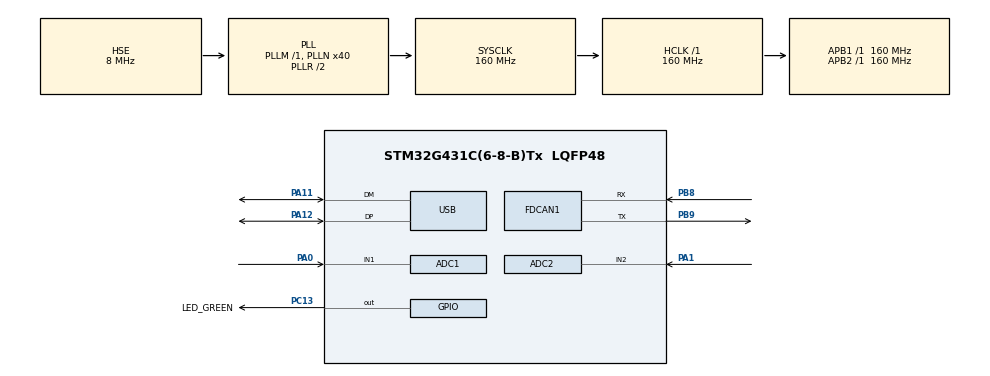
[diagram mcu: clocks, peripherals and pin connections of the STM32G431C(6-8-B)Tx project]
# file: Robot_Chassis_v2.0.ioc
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ADC1.Channel-0\#ChannelRegularConversion=ADC_CHANNEL_1
ADC1.NbrOfConversionFlag=1
ADC1.OffsetNumber-0\#ChannelRegularConversion=ADC_OFFSET_NONE
ADC1.Rank-0\#ChannelRegularConversion=1
ADC1.SamplingTime-0\#ChannelRegularConversion=ADC_SAMPLETIME_2CYCLES_5
ADC1.master=1
ADC2.Channel-0\#ChannelRegularConversion=ADC_CHANNEL_2
ADC2.NbrOfConversionFlag=1
ADC2.OffsetNumber-0\#ChannelRegularConversion=ADC_OFFSET_NONE
ADC2.Rank-0\#ChannelRegularConversion=1
ADC2.SamplingTime-0\#ChannelRegularConversion=ADC_SAMPLETIME_2CYCLES_5
FDCAN1.AutoRetransmission=ENABLE
FDCAN1.CalculateBaudRateNominal=1000000
FDCAN1.CalculateTimeBitNominal=1000
FDCAN1.CalculateTimeQuantumNominal=50.0
FDCAN1.DataPrescaler=4
FDCAN1.DataSyncJumpWidth=2
FDCAN1.DataTimeSeg1=5
FDCAN1.DataTimeSeg2=2
FDCAN1.FrameFormat=FDCAN_FRAME_FD_BRS
FDCAN1.NominalPrescaler=8
FDCAN1.NominalSyncJumpWidth=4
FDCAN1.NominalTimeSeg1=15
FDCAN1.NominalTimeSeg2=4
FDCAN1.StdFiltersNbr=1
IWDG.Prescaler=IWDG_PRESCALER_32
Mcu.Family=STM32G4
Mcu.Name=STM32G431C(6-8-B)Tx
Mcu.Package=LQFP48
NVIC.FDCAN1_IT0_IRQn=true\:5\:0\:true\:false\:true\:true\:true\:true
NVIC.FDCAN1_IT1_IRQn=true\:5\:0\:true\:false\:true\:true\:true\:true
NVIC.PriorityGroup=NVIC_PRIORITYGROUP_4
NVIC.TIM7_IRQn=true\:1\:0\:true\:false\:true\:true\:true\:true
NVIC.USB_LP_IRQn=true\:0\:0\:false\:false\:true\:true\:true\:true
PA0.Mode=IN1-Single-Ended
PA0.Signal=ADC1_IN1
PA1.Mode=IN2-Single-Ended
PA1.Signal=ADC2_IN2
PA11.Mode=Device
PA11.Signal=USB_DM
PA12.Mode=Device
PA12.Signal=USB_DP
PA13.Mode=Serial_Wire
PA13.Signal=SYS_JTMS-SWDIO
PA14.Mode=Serial_Wire
PA14.Signal=SYS_JTCK-SWCLK
PB8-BOOT0.Mode=FDCAN_Activate
PB8-BOOT0.Signal=FDCAN1_RX
PB9.Mode=FDCAN_Activate
PB9.Signal=FDCAN1_TX
PC13.GPIO_Label=LED_GREEN
PC13.Signal=GPIO_Output
PF0-OSC_IN.Mode=HSE-External-Oscillator
PF0-OSC_IN.Signal=RCC_OSC_IN
PF1-OSC_OUT.Mode=HSE-External-Oscillator
PF1-OSC_OUT.Signal=RCC_OSC_OUT
ProjectManager.HeapSize=0x200
ProjectManager.StackSize=0x400
ProjectManager.TargetToolchain=STM32CubeIDE
RCC.ADC12Freq_Value=160000000
RCC.AHBFreq_Value=160000000
RCC.APB1Freq_Value=160000000
RCC.APB1TimFreq_Value=160000000
RCC.APB2Freq_Value=160000000
RCC.APB2TimFreq_Value=160000000
RCC.CK48CLockSelection=RCC_USBCLKSOURCE_HSI48
RCC.CortexFreq_Value=160000000
RCC.EXTERNAL_CLOCK_VALUE=12288000
RCC.HCLKFreq_Value=160000000
RCC.HSE_VALUE=8000000
RCC.HSI48_VALUE=48000000
RCC.HSI_VALUE=16000000
RCC.LSE_VALUE=32768
RCC.PLLN=40
RCC.PLLSourceVirtual=RCC_PLLSOURCE_HSE
RCC.SYSCLKFreq_VALUE=160000000
RCC.SYSCLKSource=RCC_SYSCLKSOURCE_PLLCLK
RCC.USBFreq_Value=48000000
RCC.VCOOutputFreq_Value=320000000
TIM7.PeriodNoDither=1000
TIM7.Prescaler=160-1
USB_DEVICE.CLASS_NAME_FS=CDC
USB_DEVICE.VirtualMode=Cdc
USB_DEVICE.VirtualModeFS=Cdc_FS
VP_IWDG_VS_IWDG.Mode=IWDG_Activate
VP_SYS_VS_DBSignals.Mode=DisableDeadBatterySignals
VP_TIM7_VS_ClockSourceINT.Mode=Enable_Timer
VP_USB_DEVICE_VS_USB_DEVICE_CDC_FS.Mode=CDC_FS
board=custom

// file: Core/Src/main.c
/* USER CODE BEGIN Header */
/**
  ******************************************************************************
  * @file           : main.c
  * @brief          : Main program body
  ******************************************************************************
  * @attention
  *
  * Copyright (c) 2025 STMicroelectronics.
  * All rights reserved.
  *
  * This software is licensed under terms that can be found in the LICENSE file
  * in the root directory of this software component.
  * If no LICENSE file comes with this software, it is provided AS-IS.
  *
  ******************************************************************************
  */
/* USER CODE END Header */
#include "main.h"
#include "adc.h"
#include "fdcan.h"
#include "iwdg.h"
#include "tim.h"
#include "usb_device.h"
#include "gpio.h"

void SystemClock_Config(void);

/* USER CODE BEGIN 0 */
static uint8_t TransData[256];
/* USER CODE END 0 */

int main(void)
{

  /* MCU Configuration--------------------------------------------------------*/

  /* Reset of all peripherals, Initializes the Flash interface and the Systick. */
  HAL_Init();

  /* USER CODE BEGIN Init */
  UsbReset();
  /* USER CODE END Init */

  /* Configure the system clock */
  SystemClock_Config();

  /* Initialize all configured peripherals */
  MX_GPIO_Init();
  MX_FDCAN1_Init();
  MX_IWDG_Init();
  MX_TIM7_Init();
  MX_USB_Device_Init();
  MX_ADC1_Init();
  MX_ADC2_Init();
  /* USER CODE BEGIN 2 */
  HAL_TIM_Base_Start_IT(&htim7);
  InitTimer();
  StartAutoTimer(SOFT_TIME1,2);
  StartAutoTimer(SOFT_TIME2,10);
  StartAutoTimer(SOFT_TIME3,1000);

  CanInit();

  RingBuffInit(&BootLoader_RingBuff_t,Boot_Buff,BUFF_SIZE);
  RingBuffInit(&LeftArm_RingBuff_t,LeftArm_Buff,BUFF_SIZE);
  RingBuffInit(&RightArm_RingBuff_t,RightArm_Buff,BUFF_SIZE);
  RingBuffInit(&Usb_RingBuff_t,Usb_Buff,BUFF_SIZE);

  FRAME_Init(&BoaruUploadBuff);

  FLASH_If_Init();

  HAL_ADCEx_Calibration_Start(&hadc1, ADC_SINGLE_ENDED);
  HAL_ADCEx_Calibration_Start(&hadc2, ADC_SINGLE_ENDED);

  HAL_ADC_Start(&hadc1);
  HAL_ADC_Start(&hadc2);

  /* USER CODE END 2 */

  /* Infinite loop */
  while (1)
  {

    /* USER CODE BEGIN 3 */
    if (1 == CheckTimer(SOFT_TIME1)) {
      SendDatAconformity();                   /* 整合数据输出 */
    }
    if (1 == CheckTimer(SOFT_TIME2)) {
      do {
        ReceiveDisassembly();                 /* 接收PC发来数据 */
      } while (g_ParseResults == enough);

      foot_recv();                            /* 脚底数据处理 */
    }
    if (1 == CheckTimer(SOFT_TIME3)) {
      HAL_GPIO_TogglePin(LED_GREEN_GPIO_Port,LED_GREEN_Pin);
    }
  }
  /* USER CODE END 3 */
}

void SystemClock_Config(void)
{
  RCC_OscInitTypeDef RCC_OscInitStruct = {0};
  RCC_ClkInitTypeDef RCC_ClkInitStruct = {0};

  /** Configure the main internal regulator output voltage
  */
  HAL_PWREx_ControlVoltageScaling(PWR_REGULATOR_VOLTAGE_SCALE1_BOOST);

  /** Initializes the RCC Oscillators according to the specified parameters
  * in the RCC_OscInitTypeDef structure.
  */
  RCC_OscInitStruct.OscillatorType = RCC_OSCILLATORTYPE_HSI48|RCC_OSCILLATORTYPE_LSI
                              |RCC_OSCILLATORTYPE_HSE;
  RCC_OscInitStruct.HSEState = RCC_HSE_ON;
  RCC_OscInitStruct.LSIState = RCC_LSI_ON;
  RCC_OscInitStruct.HSI48State = RCC_HSI48_ON;
  RCC_OscInitStruct.PLL.PLLState = RCC_PLL_ON;
  RCC_OscInitStruct.PLL.PLLSource = RCC_PLLSOURCE_HSE;
  RCC_OscInitStruct.PLL.PLLM = RCC_PLLM_DIV1;
  RCC_OscInitStruct.PLL.PLLN = 40;
  RCC_OscInitStruct.PLL.PLLP = RCC_PLLP_DIV2;
  RCC_OscInitStruct.PLL.PLLQ = RCC_PLLQ_DIV2;
  RCC_OscInitStruct.PLL.PLLR = RCC_PLLR_DIV2;
  if (HAL_RCC_OscConfig(&RCC_OscInitStruct) != HAL_OK)
  {
    Error_Handler();
  }

  /** Initializes the CPU, AHB and APB buses clocks
  */
  RCC_ClkInitStruct.ClockType = RCC_CLOCKTYPE_HCLK|RCC_CLOCKTYPE_SYSCLK
                              |RCC_CLOCKTYPE_PCLK1|RCC_CLOCKTYPE_PCLK2;
  RCC_ClkInitStruct.SYSCLKSource = RCC_SYSCLKSOURCE_PLLCLK;
  RCC_ClkInitStruct.AHBCLKDivider = RCC_SYSCLK_DIV1;
  RCC_ClkInitStruct.APB1CLKDivider = RCC_HCLK_DIV1;
  RCC_ClkInitStruct.APB2CLKDivider = RCC_HCLK_DIV1;

  if (HAL_RCC_ClockConfig(&RCC_ClkInitStruct, FLASH_LATENCY_4) != HAL_OK)
  {
    Error_Handler();
  }
}

/* USER CODE BEGIN 4 */
/**
 * @brief       USB复位函数
 * @param       **
 * @retval      **
 */
void UsbReset(void)
{
  GPIO_InitTypeDef GPIO_InitStruct = {0};
  __HAL_RCC_GPIOA_CLK_ENABLE();
  /*Configure GPIO pin Output Level */
  HAL_GPIO_WritePin(GPIOA, GPIO_PIN_12, GPIO_PIN_RESET);

  /*Configure GPIO pin : PtPin */
  GPIO_InitStruct.Pin = GPIO_PIN_12;
  GPIO_InitStruct.Mode = GPIO_MODE_OUTPUT_OD;
  GPIO_InitStruct.Pull = GPIO_NOPULL;
  GPIO_InitStruct.Speed = GPIO_SPEED_FREQ_LOW;
  HAL_GPIO_Init(GPIOA, &GPIO_InitStruct);
  HAL_Delay(100);
  HAL_GPIO_DeInit(GPIOA, GPIO_PIN_12);
}

/**
 * @brief       发送上位机得数据整合
 * @param       **
 * @retval      **
 */
void SendDatAconformity(void) {
  uint8_t u8_kindid[2] = {0x01,0x53};

  GeneralFrameUPInit(&RightArm_Frame, 7, u8_kindid, &RightArm_RingBuff_t);
  GeneralFrameUPInit(&LeftArm_Frame, 6, u8_kindid ,&LeftArm_RingBuff_t);
  DataEncapsula(&RightArm_Frame, g_rAngel_Buff);
  DataEncapsula(&LeftArm_Frame, g_lAngel_Buff);
  AgreementEncapsula(&RightArm_Frame, TransData);
  AgreementEncapsula(&LeftArm_Frame, &TransData[GetPackSize(&RightArm_Frame)]);

  /* 角度写入 */
  for (int i = 0; i < 8; i++) {
    BoaruUploadBuff.fdata[1 + i] = g_lAngel_Buff[i];
    BoaruUploadBuff.fdata[9 + i] = g_rAngel_Buff[i];
  }

  /* 按键写入 */
  for (int i = 0; i< 17; i++) {
    BoaruUploadBuff.fdata[17 + i] = g_key_Buff[i];
    BoaruUploadBuff.fdata[34 + i] = g_key_Buff[17 + i];
  }
  BoaruUploadBuff.fdata[51] = foot_data;
  BoaruUploadBuff.fdata[52] = g_key_temp[0];
  BoaruUploadBuff.fdata[53] = g_key_temp[1];
  /* USB串口输出 */
  if (0 == g_OutManner) {
    CDC_Transmit_FS((uint8_t *) &TransData, GetPackSize(&LeftArm_Frame) * 2);
  }else {
    BOARDUploadStart();
  }
}
/* USER CODE END 4 */

void Error_Handler(void)
{
  __disable_irq();
  while (1)
  {
  }
}
